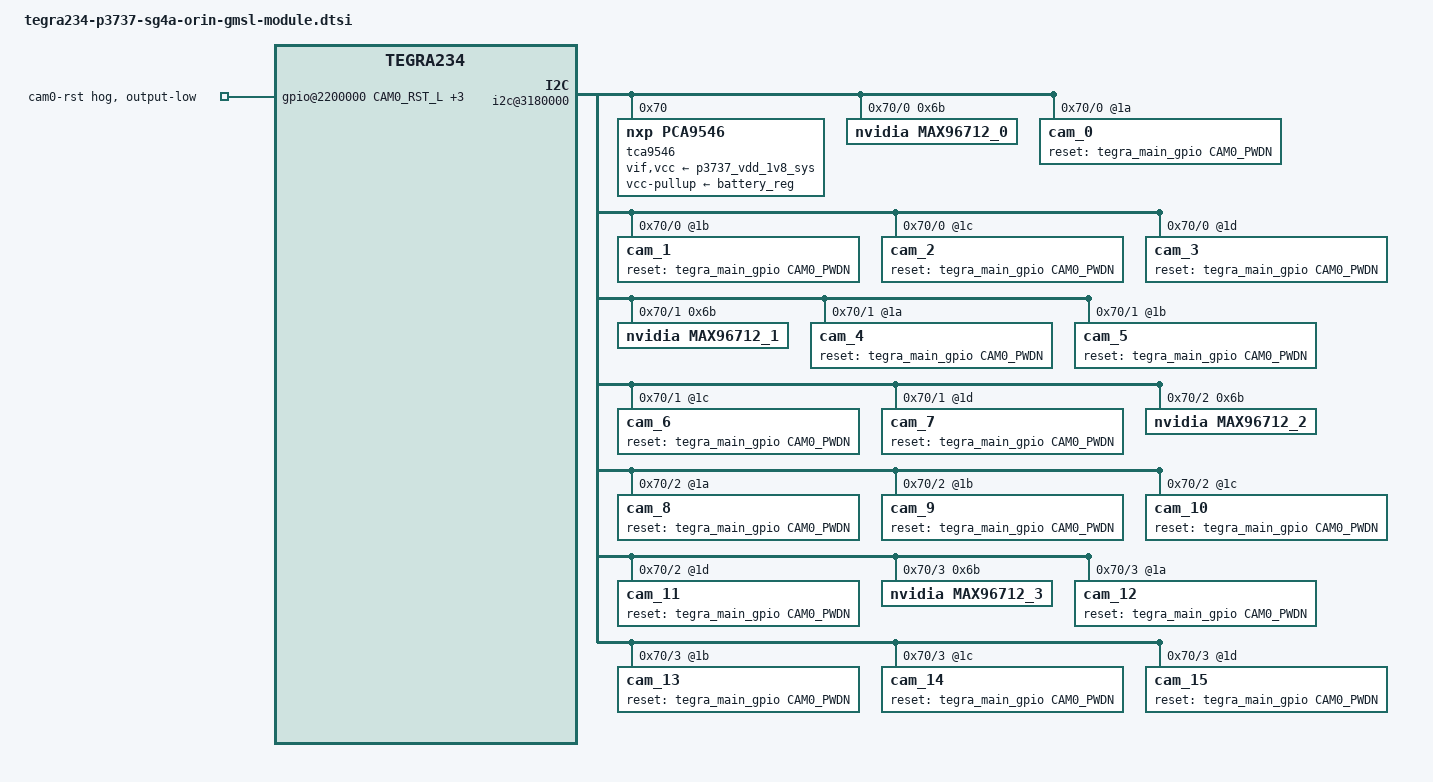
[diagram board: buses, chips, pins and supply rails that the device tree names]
/*
 * Copyright (c) 2018-2022, NVIDIA CORPORATION.  All rights reserved.
 *
 * This program is free software; you can redistribute it and/or modify
 * it under the terms of the GNU General Public License as published by
 * the Free Software Foundation; either version 2 of the License, or
 * (at your option) any later version.
 *
 * This program is distributed in the hope that it will be useful, but WITHOUT
 * ANY WARRANTY; without even the implied warranty of MERCHANTABILITY or
 * FITNESS FOR A PARTICULAR PURPOSE.  See the GNU General Public License for
 * more details.
 *
 * You should have received a copy of the GNU General Public License
 * along with this program.  If not, see <http://www.gnu.org/licenses/>.
 */
#include "dt-bindings/clock/tegra234-clock.h"

// #if defined(SG2_AR0234C_GMSL2)
// #include "sg2-ar0234c-gmsl2.dtsi"
// #elif defined(SG2_IMX390C_GMSL2)
// #include "sg2-imx390c-gmsl2.dtsi"
// #elif defined(SG2_OX03C_GMSL2)
// #include "sg2-ox03c-gmsl2.dtsi"
// #elif defined(SG8_AR0820C_GMSL2)
// #include "sg8-ar0820c-gmsl2.dtsi"
// #elif defined(SGX_YUV_GMSL2)
#include "sgx-yuv-gmsl2.dtsi"
// #endif

/* camera control gpio definitions */
#define CAM0_RST_L	TEGRA234_MAIN_GPIO(H, 3)
#define CAM0_PWDN	TEGRA234_MAIN_GPIO(H, 6)
#define CAM1_RST_L	TEGRA234_MAIN_GPIO(AC, 1)
#define CAM1_PWDN	TEGRA234_MAIN_GPIO(AC, 0)
#define PWR_EN      TEGRA234_MAIN_GPIO(AC, 7)
#define CAMERA_I2C_MUX_BUS(x) (0x1E + x)

/ {
	gpio@2200000 {
		camera-control-output-low {
			gpio-hog;
			output-low;
			gpios = <CAM0_RST_L 0 CAM0_PWDN 0
				 CAM1_RST_L 0 CAM1_PWDN 0>;
			label = "cam0-rst", "cam0-pwdn",
				"cam1-rst", "cam1-pwdn";
		};
	};

	i2c@3180000 {
		tca9546@70 {
			compatible = "nxp,pca9546";
			reg = <0x70>;
			#address-cells = <1>;
			#size-cells = <0>;
			skip_mux_detect = "yes";
			vif-supply = <&p3737_vdd_1v8_sys>;
			vcc-supply = <&p3737_vdd_1v8_sys>;
			vcc-pullup-supply = <&battery_reg>;
			force_bus_start = <CAMERA_I2C_MUX_BUS(0)>;

			i2c@0 {
				reg = <0>;
				i2c-mux,deselect-on-exit;
				#address-cells = <1>;
				#size-cells = <0>;

				max96712_0@6b {
					compatible = "nvidia,max96712_0";
					reg = <0x6b>;
				};

				cam_0@1a {
					/* Define any required hw resources needed by driver */
					/* ie. clocks, io pins, power sources */
					clocks = <&bpmp_clks TEGRA234_CLK_EXTPERIPH1>,
							<&bpmp_clks TEGRA234_CLK_EXTPERIPH1>;
					clock-names = "extperiph1", "pllp_grtba";
					mclk = "extperiph1";
					der_id = <0>;//
					reset-gpios = <&tegra_main_gpio CAM0_PWDN GPIO_ACTIVE_HIGH>;
				};
				cam_1@1b {
					/* Define any required hw resources needed by driver */
					/* ie. clocks, io pins, power sources */
					clocks = <&bpmp_clks TEGRA234_CLK_EXTPERIPH1>,
							<&bpmp_clks TEGRA234_CLK_EXTPERIPH1>;
					clock-names = "extperiph1", "pllp_grtba";
					mclk = "extperiph1";
					der_id = <0>;//
					reset-gpios = <&tegra_main_gpio CAM0_PWDN GPIO_ACTIVE_HIGH>;
				};
				cam_2@1c {
					/* Define any required hw resources needed by driver */
					/* ie. clocks, io pins, power sources */
					clocks = <&bpmp_clks TEGRA234_CLK_EXTPERIPH1>,
							<&bpmp_clks TEGRA234_CLK_EXTPERIPH1>;
					clock-names = "extperiph1", "pllp_grtba";
					mclk = "extperiph1";
					der_id = <0>;//
					reset-gpios = <&tegra_main_gpio CAM0_PWDN GPIO_ACTIVE_HIGH>;
				};
				cam_3@1d {
					/* Define any required hw resources needed by driver */
					/* ie. clocks, io pins, power sources */
					clocks = <&bpmp_clks TEGRA234_CLK_EXTPERIPH1>,
							<&bpmp_clks TEGRA234_CLK_EXTPERIPH1>;
					clock-names = "extperiph1", "pllp_grtba";
					mclk = "extperiph1";
					der_id = <0>;//
					reset-gpios = <&tegra_main_gpio CAM0_PWDN GPIO_ACTIVE_HIGH>;
				};
			};
		
			i2c@1 {
				reg = <1>;
				i2c-mux,deselect-on-exit;
				#address-cells = <1>;
				#size-cells = <0>;

				max96712_1@6b {
					compatible = "nvidia,max96712_1";
					reg = <0x6b>;
				};

				cam_4@1a {
					/* Define any required hw resources needed by driver */
					/* ie. clocks, io pins, power sources */
					clocks = <&bpmp_clks TEGRA234_CLK_EXTPERIPH1>,
							<&bpmp_clks TEGRA234_CLK_EXTPERIPH1>;
					clock-names = "extperiph1", "pllp_grtba";
					mclk = "extperiph1";
					der_id = <1>;//
					reset-gpios = <&tegra_main_gpio CAM0_PWDN GPIO_ACTIVE_HIGH>;
				};
				cam_5@1b {
					/* Define any required hw resources needed by driver */
					/* ie. clocks, io pins, power sources */
					clocks = <&bpmp_clks TEGRA234_CLK_EXTPERIPH1>,
							<&bpmp_clks TEGRA234_CLK_EXTPERIPH1>;
					clock-names = "extperiph1", "pllp_grtba";
					mclk = "extperiph1";
					der_id = <1>;//
					reset-gpios = <&tegra_main_gpio CAM0_PWDN GPIO_ACTIVE_HIGH>;
				};
				cam_6@1c {
					/* Define any required hw resources needed by driver */
					/* ie. clocks, io pins, power sources */
					clocks = <&bpmp_clks TEGRA234_CLK_EXTPERIPH1>,
							<&bpmp_clks TEGRA234_CLK_EXTPERIPH1>;
					clock-names = "extperiph1", "pllp_grtba";
					mclk = "extperiph1";
					der_id = <1>;//
					reset-gpios = <&tegra_main_gpio CAM0_PWDN GPIO_ACTIVE_HIGH>;
				};
				cam_7@1d {
					/* Define any required hw resources needed by driver */
					/* ie. clocks, io pins, power sources */
					clocks = <&bpmp_clks TEGRA234_CLK_EXTPERIPH1>,
							<&bpmp_clks TEGRA234_CLK_EXTPERIPH1>;
					clock-names = "extperiph1", "pllp_grtba";
					mclk = "extperiph1";
					der_id = <1>;//
					reset-gpios = <&tegra_main_gpio CAM0_PWDN GPIO_ACTIVE_HIGH>;
				};
			};	
			i2c@2 {
				reg = <2>;
				i2c-mux,deselect-on-exit;
				#address-cells = <1>;
				#size-cells = <0>;

				max96712_2@6b {
					compatible = "nvidia,max96712_2";
					reg = <0x6b>;
				};

				cam_8@1a {
					/* Define any required hw resources needed by driver */
					/* ie. clocks, io pins, power sources */
					clocks = <&bpmp_clks TEGRA234_CLK_EXTPERIPH1>,
							<&bpmp_clks TEGRA234_CLK_EXTPERIPH1>;
					clock-names = "extperiph1", "pllp_grtba";
					mclk = "extperiph1";
					der_id = <2>;//
					reset-gpios = <&tegra_main_gpio CAM0_PWDN GPIO_ACTIVE_HIGH>;
				};
				cam_9@1b {
					/* Define any required hw resources needed by driver */
					/* ie. clocks, io pins, power sources */
					clocks = <&bpmp_clks TEGRA234_CLK_EXTPERIPH1>,
							<&bpmp_clks TEGRA234_CLK_EXTPERIPH1>;
					clock-names = "extperiph1", "pllp_grtba";
					mclk = "extperiph1";
					der_id = <2>;//
					reset-gpios = <&tegra_main_gpio CAM0_PWDN GPIO_ACTIVE_HIGH>;
				};
				cam_10@1c {
					/* Define any required hw resources needed by driver */
					/* ie. clocks, io pins, power sources */
					clocks = <&bpmp_clks TEGRA234_CLK_EXTPERIPH1>,
							<&bpmp_clks TEGRA234_CLK_EXTPERIPH1>;
					clock-names = "extperiph1", "pllp_grtba";
					mclk = "extperiph1";
					der_id = <2>;//
					reset-gpios = <&tegra_main_gpio CAM0_PWDN GPIO_ACTIVE_HIGH>;
				};
				cam_11@1d {
					/* Define any required hw resources needed by driver */
					/* ie. clocks, io pins, power sources */
					clocks = <&bpmp_clks TEGRA234_CLK_EXTPERIPH1>,
							<&bpmp_clks TEGRA234_CLK_EXTPERIPH1>;
					clock-names = "extperiph1", "pllp_grtba";
					mclk = "extperiph1";
					der_id = <2>;//
					reset-gpios = <&tegra_main_gpio CAM0_PWDN GPIO_ACTIVE_HIGH>;
				};
			};
			i2c@3 {
				reg = <3>;
				i2c-mux,deselect-on-exit;
				#address-cells = <1>;
				#size-cells = <0>;

				max96712_3@6b {
					compatible = "nvidia,max96712_3";
					reg = <0x6b>;
				};

				cam_12@1a {
					/* Define any required hw resources needed by driver */
					/* ie. clocks, io pins, power sources */
					clocks = <&bpmp_clks TEGRA234_CLK_EXTPERIPH1>,
							<&bpmp_clks TEGRA234_CLK_EXTPERIPH1>;
					clock-names = "extperiph1", "pllp_grtba";
					mclk = "extperiph1";
					der_id = <3>;//
					reset-gpios = <&tegra_main_gpio CAM0_PWDN GPIO_ACTIVE_HIGH>;
				};
				cam_13@1b {
					/* Define any required hw resources needed by driver */
					/* ie. clocks, io pins, power sources */
					clocks = <&bpmp_clks TEGRA234_CLK_EXTPERIPH1>,
							<&bpmp_clks TEGRA234_CLK_EXTPERIPH1>;
					clock-names = "extperiph1", "pllp_grtba";
					mclk = "extperiph1";
					der_id = <3>;//
					reset-gpios = <&tegra_main_gpio CAM0_PWDN GPIO_ACTIVE_HIGH>;
				};
				cam_14@1c {
					/* Define any required hw resources needed by driver */
					/* ie. clocks, io pins, power sources */
					clocks = <&bpmp_clks TEGRA234_CLK_EXTPERIPH1>,
							<&bpmp_clks TEGRA234_CLK_EXTPERIPH1>;
					clock-names = "extperiph1", "pllp_grtba";
					mclk = "extperiph1";
					der_id = <3>;//
					reset-gpios = <&tegra_main_gpio CAM0_PWDN GPIO_ACTIVE_HIGH>;
				};
				cam_15@1d {
					/* Define any required hw resources needed by driver */
					/* ie. clocks, io pins, power sources */
					clocks = <&bpmp_clks TEGRA234_CLK_EXTPERIPH1>,
							<&bpmp_clks TEGRA234_CLK_EXTPERIPH1>;
					clock-names = "extperiph1", "pllp_grtba";
					mclk = "extperiph1";
					der_id = <3>;//
					reset-gpios = <&tegra_main_gpio CAM0_PWDN GPIO_ACTIVE_HIGH>;
				};
			};
		};
	};
};
